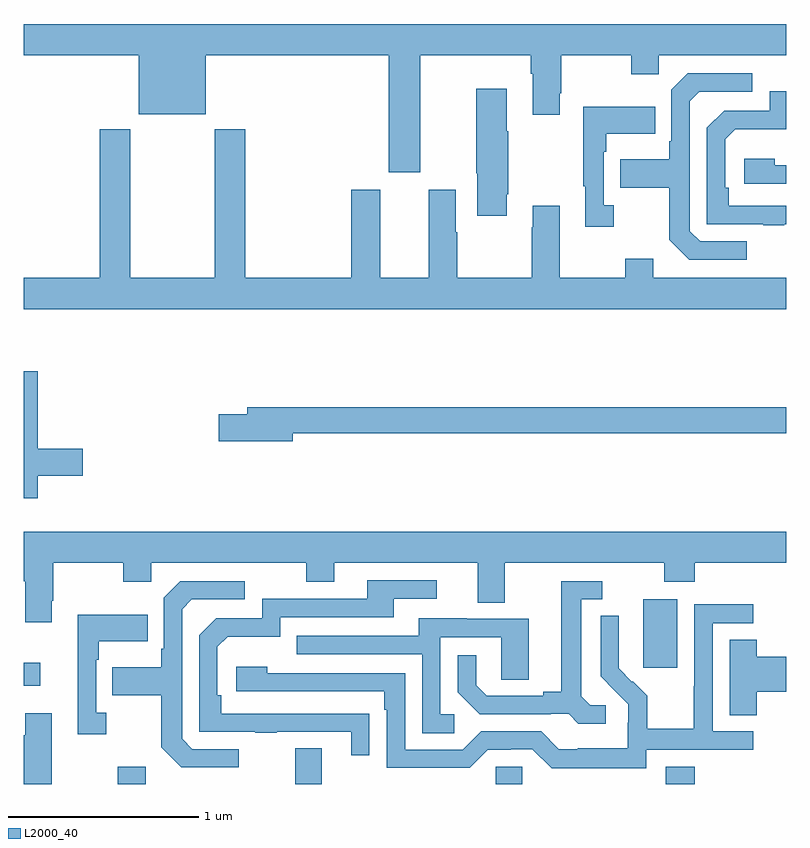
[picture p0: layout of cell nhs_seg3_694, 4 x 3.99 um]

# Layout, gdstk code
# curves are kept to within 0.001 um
import gdstk
lib = gdstk.Library(unit=1e-6, precision=1e-09)
def R(c, l, rs):  # rectangles x0, y0, x1, y1
    for r in rs: c.add(gdstk.rectangle(r[:2], r[2:], *l))
def P(c, l, *ps):  # polygons
    for p in ps: c.add(gdstk.Polygon(p, *l))
L2000_40 = (2000, 40)

nhs_seg3_694 = lib.new_cell('nhs_seg3_694')
R(nhs_seg3_694, L2000_40, [(145.492,722.4,145.639,722.491), (146.423,722.4,146.563,722.587), (147.477,722.4,147.615,722.49), (148.367,722.4,148.52,722.491), (145,722.915,145.087,723.037), (148.25,723.009,148.429,723.37)])
P(nhs_seg3_694, L2000_40, [(147.079,726.224),(147.659,726.224),(147.659,726.128),(147.671,726.128),(147.671,725.913),(147.811,725.913),(147.811,726.025),(147.819,726.025),(147.819,726.224),(148.186,726.224),(148.186,726.125),(148.332,726.125),(148.332,726.224),(149,726.224),(149,726.388),(145,726.388),(145,726.224),(145.604,726.224),(145.604,725.915),(145.954,725.915),(145.954,726.224),(146.915,726.224),(146.915,725.61),(147.079,725.61)],
  [(148.792,725.247),(148.548,725.247),(148.494,725.301),(148.494,725.982),(148.545,726.033),(148.822,726.033),(148.822,726.129),(148.485,726.129),(148.398,726.042),(148.398,725.773),(148.386,725.773),(148.386,725.677),(148.129,725.677),(148.129,725.53),(148.386,725.53),(148.386,725.257),(148.491,725.151),(148.792,725.151)],
  [(147.535,725.494),(147.543,725.494),(147.543,725.825),(147.535,725.825),(147.535,726.049),(147.373,726.049),(147.373,725.605),(147.38,725.605),(147.38,725.382),(147.535,725.382)],
  [(148.991,725.337),(149,725.337),(149,725.433),(148.7,725.433),(148.7,725.53),(148.68,725.53),(148.68,725.784),(148.733,725.837),(149,725.837),(149,726.036),(148.914,726.036),(148.914,725.934),(148.674,725.934),(148.584,725.844),(148.584,725.337),(148.879,725.337),(148.879,725.332),(148.991,725.332)],
  [(148.096,725.438),(148.044,725.438),(148.044,725.717),(148.057,725.717),(148.057,725.813),(148.313,725.813),(148.313,725.953),(147.936,725.953),(147.936,725.537),(147.947,725.537),(147.947,725.325),(148.096,725.325)],
  [(149,725.646),(148.94,725.646),(148.94,725.68),(148.779,725.68),(148.779,725.55),(149,725.55)],
  [(147.125,725.518),(147.125,725.056),(146.869,725.056),(146.869,725.518),(146.717,725.518),(146.717,725.056),(146.162,725.056),(146.162,725.836),(146.002,725.836),(146.002,725.056),(145.557,725.056),(145.557,725.836),(145.397,725.836),(145.397,725.056),(145,725.056),(145,724.892),(149,724.892),(149,725.056),(148.303,725.056),(148.303,725.155),(148.156,725.155),(148.156,725.056),(147.811,725.056),(147.811,725.434),(147.671,725.434),(147.671,725.321),(147.664,725.321),(147.664,725.056),(147.273,725.056),(147.273,725.294),(147.265,725.294),(147.265,725.518)],
  [(145.073,724.018),(145.309,724.018),(145.309,724.16),(145.073,724.16),(145.073,724.567),(145,724.567),(145,723.9),(145.073,723.9)],
  [(146.41,724.24),(149,724.24),(149,724.376),(146.171,724.376),(146.171,724.34),(146.022,724.34),(146.022,724.198),(146.41,724.198)],
  [(145.147,723.361),(145.155,723.361),(145.155,723.56),(145.522,723.56),(145.522,723.461),(145.668,723.461),(145.668,723.56),(146.482,723.56),(146.482,723.461),(146.629,723.461),(146.629,723.56),(147.383,723.56),(147.383,723.352),(147.523,723.352),(147.523,723.56),(148.36,723.56),(148.36,723.461),(148.52,723.461),(148.52,723.56),(149,723.56),(149,723.724),(145,723.724),(145,723.464),(145.007,723.464),(145.007,723.249),(145.147,723.249)],
  [(146.813,722.768),(146.036,722.769),(146.036,722.866),(146.016,722.866),(146.016,723.12),(146.069,723.173),(146.346,723.173),(146.346,723.276),(146.941,723.276),(146.941,723.372),(147.166,723.372),(147.166,723.468),(146.801,723.468),(146.801,723.372),(146.25,723.372),(146.25,723.27),(146.01,723.27),(145.92,723.18),(145.92,722.673),(146.215,722.673),(146.215,722.668),(146.327,722.668),(146.327,722.673),(146.717,722.673),(146.717,722.55),(146.813,722.55)],
  [(146.128,722.583),(145.884,722.583),(145.83,722.637),(145.83,723.318),(145.881,723.369),(146.158,723.369),(146.158,723.465),(145.821,723.465),(145.734,723.378),(145.734,723.109),(145.722,723.109),(145.722,723.013),(145.465,723.013),(145.465,722.866),(145.722,722.866),(145.722,722.593),(145.827,722.487),(146.128,722.487)],
  [(148.054,722.814),(147.972,722.814),(147.925,722.861),(147.925,723.369),(148.036,723.369),(148.036,723.465),(147.821,723.465),(147.821,722.885),(147.725,722.885),(147.725,722.862),(147.43,722.862),(147.373,722.919),(147.373,723.076),(147.276,723.076),(147.276,722.882),(147.392,722.766),(147.764,722.766),(147.764,722.769),(147.858,722.769),(147.91,722.717),(148.054,722.717)],
  [(148.266,722.58),(148.828,722.58),(148.828,722.676),(148.614,722.676),(148.614,723.243),(148.828,723.243),(148.828,723.342),(148.518,723.342),(148.518,722.912),(148.516,722.912),(148.516,722.689),(148.271,722.689),(148.271,722.863),(148.194,722.94),(148.191,722.937),(148.121,723.008),(148.122,723.284),(148.026,723.284),(148.026,722.966),(148.172,722.818),(148.172,722.721),(148.17,722.721),(148.17,722.587),(147.907,722.587),(147.907,722.583),(147.807,722.583),(147.714,722.676),(147.399,722.676),(147.303,722.58),(147,722.58),(147,722.982),(146.276,722.982),(146.276,723.016),(146.115,723.016),(146.115,722.886),(146.891,722.886),(146.891,722.789),(146.904,722.789),(146.904,722.484),(147.339,722.484),(147.435,722.58),(147.554,722.58),(147.554,722.583),(147.669,722.583),(147.769,722.483),(148.266,722.483)],
  [(145.432,722.774),(145.38,722.774),(145.38,723.053),(145.393,723.053),(145.393,723.149),(145.649,723.149),(145.649,723.289),(145.283,723.289),(145.283,722.661),(145.432,722.661)],
  [(147.259,722.766),(147.186,722.766),(147.186,723.171),(147.504,723.171),(147.504,722.947),(147.649,722.947),(147.649,723.267),(147.325,723.267),(147.325,723.271),(147.071,723.271),(147.071,723.177),(146.431,723.177),(146.431,723.081),(147.09,723.081),(147.09,722.665),(147.259,722.665)],
  [(148.847,722.885),(149,722.885),(149,723.068),(148.847,723.068),(148.847,723.158),(148.703,723.158),(148.703,722.761),(148.847,722.761)],
  [(145.147,722.77),(145.007,722.77),(145.007,722.657),(145,722.657),(145,722.4),(145.147,722.4)])

lib.write_gds('nhs_seg3_694.gds')
